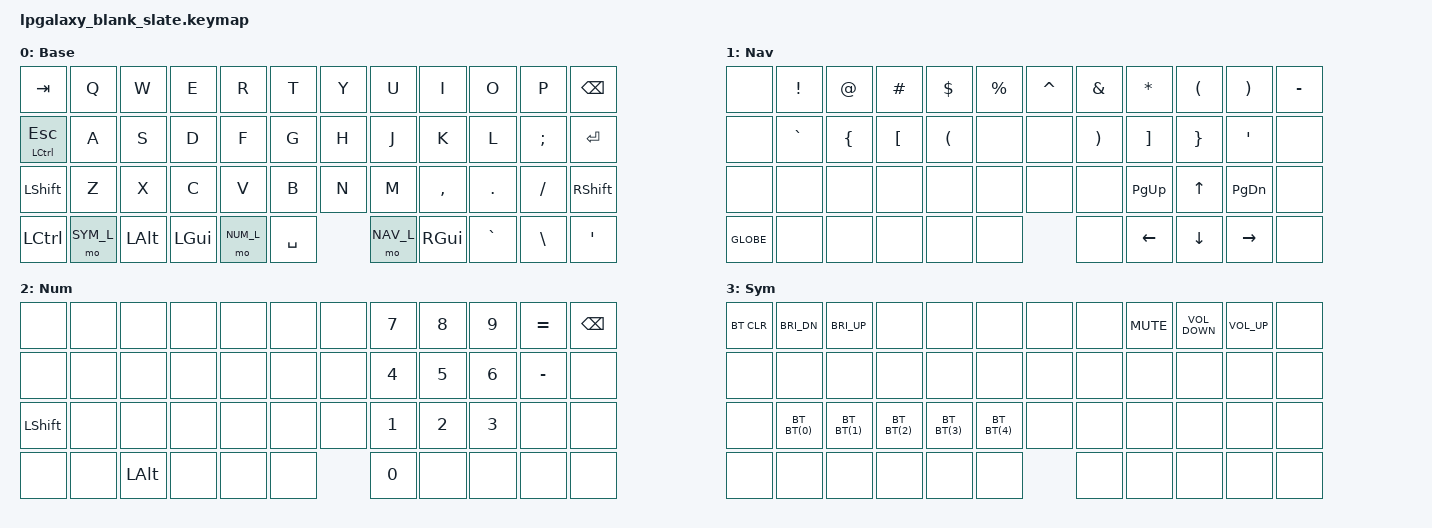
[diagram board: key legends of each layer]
/*
 * Copyright (c) 2022 Pete Johanson
 *
 * SPDX-License-Identifier: MIT
 */

#include <behaviors.dtsi>
#include <dt-bindings/zmk/keys.h>
#include <dt-bindings/zmk/bt.h>
#include <dt-bindings/zmk/outputs.h>

#define QWERTY_BASE 1

// #define TBLE_ORTHO   1
#define TBLE_MIT     1
// #define TBLE_DUAL_2U 1

#define NAV_L 1
#define NUM_L 2
#define SYM_L 3

// Using layer taps on thumbs, having quick tap as well helps w/ repeating space/backspace
&lt { quick_tap_ms = <200>; };

#define BT(n) BT_SEL n

/ {
    chosen {
       zmk,physical-layout =
#ifdef TBLE_DUAL_2U
                       &layout_ortho_4x12_2x2u;
#elif defined(TBLE_MIT)
                       &layout_ortho_4x12_1x2u;
#else
                       &layout_ortho_4x12_all1u;
#endif
    };

    macros {
      ZMK_MACRO(thumbs_up,
		wait-ms = <1>;
		tap-ms = <5>;
                bindings = <&kp PLUS &kp COLON &kp PLUS &kp N1 &kp COLON &kp RET>;
		)
    };
    
    tap_dances {
    	shifty: shift_caps_word {
		compatible = "zmk,behavior-tap-dance";
		label = "TD_SHIFTY";
		#binding-cells = <0>;
		tapping-term-ms = <150>;
		bindings = <&kp LSHFT>, <&caps_word>;
	};
    };

// Conditional layer only when we have less thumb keys
#ifdef TBLE_DUAL_2U
    cond_layers {
        compatible = "zmk,conditional-layers";
	tri {
	    if-layers = <NUM_L NAV_L>;
	    then-layer = <SYM_L>;
        };
    };
#endif

    keymap {
        compatible = "zmk,keymap";

        base_layer {
            label = "Base";
            bindings = <
  &kp TAB           &kp Q       &kp W      &kp E       &kp R          &kp T          &kp Y            &kp U          &kp I       &kp O      &kp P         &kp BKSP
  &mt LCTRL ESC     &kp A       &kp S      &kp D       &kp F          &kp G          &kp H            &kp J          &kp K       &kp L      &kp SEMI      &kp RET
  &kp LSHFT         &kp Z       &kp X      &kp C       &kp V          &kp B          &kp N            &kp M          &kp COMMA   &kp DOT    &kp FSLH      &kp RSHFT
  &kp LCTRL         &mo SYM_L   &kp LALT   &kp LGUI    &mo NUM_L          &kp SPACE                   &mo NAV_L      &kp RGUI    &kp GRAVE  &kp BSLH      &kp QUOT

            >;
        };

        nav_layer {
            label = "Nav";
            bindings = <
  &none             &kp EXCL    &kp AT     &kp HASH    &kp DLLR       &kp PRCNT       &kp CARET       &kp AMPS       &kp STAR    &kp LPAR   &kp RPAR       &kp MINUS
  &none             &kp GRAVE   &kp LBRC   &kp LBKT    &kp LPAR       &none           &none           &kp RPAR       &kp RBKT    &kp RBRC   &kp QUOT       &none
  &none             &none       &none      &none       &none          &none           &none           &none          &kp PG_UP   &kp UP     &kp PG_DN     &none
  &kp GLOBE         &none       &none      &none       &none                &none                     &none          &kp LEFT    &kp DOWN   &kp RIGHT     &none
            >;
        };

        num_layer {
            label = "Num";
            bindings = <
  &none             &none       &none       &none       &none          &none          &none    &kp N7     &kp N8      &kp N9       &kp EQUAL     &kp BKSP
  &none             &none       &none       &none       &none          &none          &none    &kp N4     &kp N5      &kp N6       &kp MINUS     &none
  &kp LSHFT         &none       &none       &none       &none          &none          &none    &kp N1     &kp N2      &kp N3       &none         &none
  &none             &none       &kp LALT    &none       &none               &none              &kp N0     &none       &none        &none         &none
            >;
        };

        sym_layer {
            label = "Sym";
            bindings = <
  &bt BT_CLR       &kp C_BRI_DN &kp C_BRI_UP  &none       &none          &none          &none    &none     &kp K_MUTE  &kp C_VOLUME_DOWN     &kp C_VOLUME_UP     &none
  &none            &none        &none         &none       &none          &none          &none    &none     &none       &none                 &none               &none
  &none            &bt BT(0)    &bt BT(1)     &bt BT(2)   &bt BT(3)      &bt BT(4)      &none    &none     &none       &none                 &none               &none
  &none            &none        &none         &none       &none               &none              &none     &none       &none                 &none               &none
            >;
        };


    };
};

